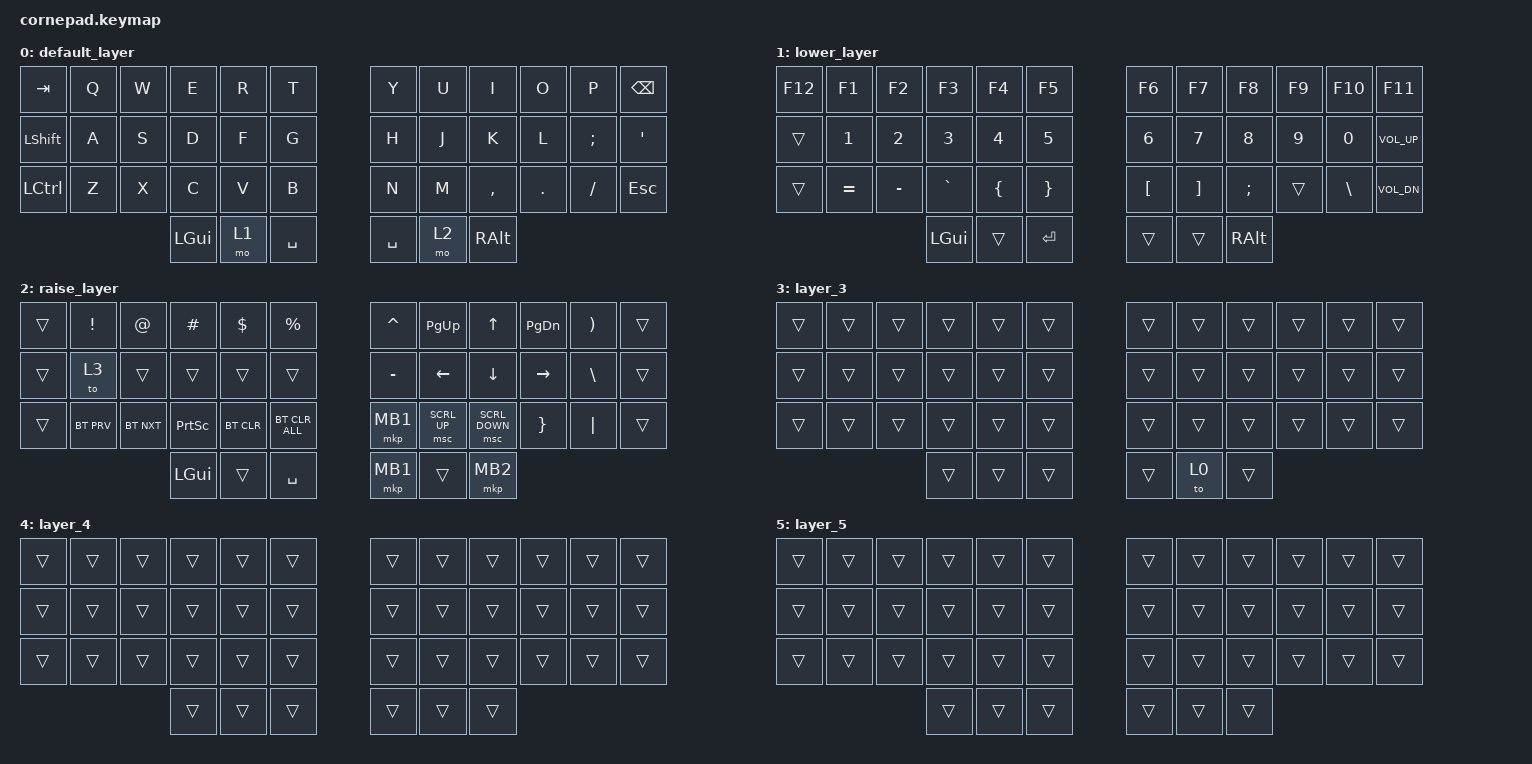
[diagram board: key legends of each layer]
/*
 * Copyright (c) 2020 The ZMK Contributors
 *
 * SPDX-License-Identifier: MIT
 */

#include <behaviors.dtsi>
#include <dt-bindings/zmk/bt.h>
#include <dt-bindings/zmk/keys.h>
#include <dt-bindings/zmk/pointing.h>

/ {
    keymap {
        compatible = "zmk,keymap";

        default_layer {
            // -----------------------------------------------------------------------------------------
            // |  TAB |  Q  |  W  |  E  |  R  |  T  |   |  Y  |  U   |  I  |  O  |  P  | BSPC |
            // | CTRL |  A  |  S  |  D  |  F  |  G  |   |  H  |  J   |  K  |  L  |  ;  |  '   |
            // | SHFT |  Z  |  X  |  C  |  V  |  B  |   |  N  |  M   |  ,  |  .  |  /  | ESC  |
            //                    | GUI | LWR | SPC |   | ENT | RSE  | ALT |

            bindings = <
&kp TAB           &kp Q  &kp W  &kp E     &kp R  &kp T        &kp Y      &kp U  &kp I      &kp O    &kp P     &kp BSPC
&kp LEFT_SHIFT    &kp A  &kp S  &kp D     &kp F  &kp G        &kp H      &kp J  &kp K      &kp L    &kp SEMI  &kp SQT
&kp LEFT_CONTROL  &kp Z  &kp X  &kp C     &kp V  &kp B        &kp N      &kp M  &kp COMMA  &kp DOT  &kp FSLH  &kp ESC
                                &kp LGUI  &mo 1  &kp SPACE    &kp SPACE  &mo 2  &kp RALT
            >;
        };

        lower_layer {
            // -----------------------------------------------------------------------------------------
            // |  TAB |  1  |  2  |  3  |  4  |  5  |   |  6  |  7  |  8  |  9  |  0  | BSPC |
            // | BTCLR| BT1 | BT2 | BT3 | BT4 | BT5 |   | LFT | DWN |  UP | RGT |     |      |
            // | SHFT |     |     |     |     |     |   |     |     |     |     |     |      |
            //                    | GUI |     | SPC |   | ENT |     | ALT |

            bindings = <
&kp F12  &kp F1     &kp F2     &kp F3     &kp F4          &kp F5             &kp F6            &kp F7             &kp F8         &kp F9  &kp F10        &kp F11
&trans   &kp N1     &kp N2     &kp N3     &kp N4          &kp N5             &kp N6            &kp N7             &kp N8         &kp N9  &kp N0         &kp K_VOL_UP
&trans   &kp EQUAL  &kp MINUS  &kp GRAVE  &kp LEFT_BRACE  &kp RIGHT_BRACE    &kp LEFT_BRACKET  &kp RIGHT_BRACKET  &kp SEMICOLON  &trans  &kp BACKSLASH  &kp K_VOL_DN
                               &kp LGUI   &trans          &kp ENTER          &trans            &trans             &kp RALT
            >;
        };

        raise_layer {
            // -----------------------------------------------------------------------------------------
            // |  TAB |  !  |  @  |  #  |  $  |  %  |   |  ^  |  &  |  *  |  (  |  )  | BSPC |
            // | CTRL |     |     |     |     |     |   |  -  |  =  |  [  |  ]  |  \  |  `   |
            // | SHFT |     |     |     |     |     |   |  _  |  +  |  {  |  }  | "|" |  ~   |
            //                    | GUI |     | SPC |   | ENT |     | ALT |

            bindings = <
&trans  &kp EXCL    &kp AT      &kp HASH         &kp DLLR    &kp PRCNT         &kp CARET  &kp PAGE_UP     &kp UP_ARROW    &kp PAGE_DOWN    &kp RPAR  &trans
&trans  &to 3       &trans      &trans           &trans      &trans            &kp MINUS  &kp LEFT_ARROW  &kp DOWN_ARROW  &kp RIGHT_ARROW  &kp BSLH  &trans
&trans  &bt BT_PRV  &bt BT_NXT  &kp PRINTSCREEN  &bt BT_CLR  &bt BT_CLR_ALL    &mkp MB1   &msc SCRL_UP    &msc SCRL_DOWN  &kp RBRC         &kp PIPE  &trans
                                &kp LGUI         &trans      &kp SPACE         &mkp MB1   &trans          &mkp MB2
            >;
        };

        layer_3 {
            bindings = <
&trans  &trans  &trans  &trans  &trans  &trans    &trans  &trans  &trans  &trans  &trans  &trans
&trans  &trans  &trans  &trans  &trans  &trans    &trans  &trans  &trans  &trans  &trans  &trans
&trans  &trans  &trans  &trans  &trans  &trans    &trans  &trans  &trans  &trans  &trans  &trans
                        &trans  &trans  &trans    &trans  &to 0   &trans
            >;
        };

        layer_4 {
            bindings = <
&trans  &trans  &trans  &trans  &trans  &trans    &trans  &trans  &trans  &trans  &trans  &trans
&trans  &trans  &trans  &trans  &trans  &trans    &trans  &trans  &trans  &trans  &trans  &trans
&trans  &trans  &trans  &trans  &trans  &trans    &trans  &trans  &trans  &trans  &trans  &trans
                        &trans  &trans  &trans    &trans  &trans  &trans
            >;
        };

        layer_5 {
            bindings = <
&trans  &trans  &trans  &trans  &trans  &trans    &trans  &trans  &trans  &trans  &trans  &trans
&trans  &trans  &trans  &trans  &trans  &trans    &trans  &trans  &trans  &trans  &trans  &trans
&trans  &trans  &trans  &trans  &trans  &trans    &trans  &trans  &trans  &trans  &trans  &trans
                        &trans  &trans  &trans    &trans  &trans  &trans
            >;
        };
    };
};
